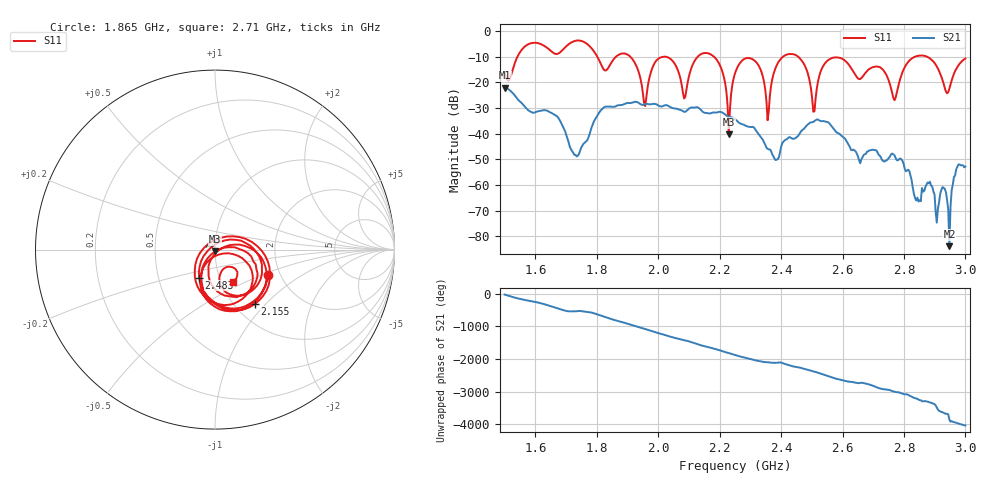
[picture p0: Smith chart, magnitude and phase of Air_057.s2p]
# HZ S RI R 50
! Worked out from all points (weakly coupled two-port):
!   404 points, 1.5 GHz to 3 GHz, reference 50 ohm
!   highest |S21| = -22.10 dB at 1.5 GHz (marker M1); lowest = -83.9 dB at 2.948 GHz (marker M2)
!   lowest |S11| = -40.3 dB at 2.23 GHz (marker M3), VSWR 1.02, Z = 50.1 - j0.962 ohm
!   |S11| at or under -10 dB: 2.182 GHz to 2.406 GHz (224 MHz wide, 9.76 % of centre); 2.456 GHz to 2.835 GHz (379.2 MHz wide, 14.3 % of centre); 2.876 GHz to end of sweep (the widest 3 of 7)
!   S12 and S22 are empty: the file has one direction only
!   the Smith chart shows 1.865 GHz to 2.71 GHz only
!   S11 on the Smith chart (normalised r, x): 1.865 GHz: 1.73, -0.54; 2.155 GHz: 1.24, -0.87; 2.483 GHz: 0.80, -0.26; 2.71 GHz: 1.14, -0.42
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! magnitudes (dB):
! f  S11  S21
! 1.5 GHz  -16.4  -22.1
! 1.578 GHz  -5.0  -31.0
! 1.753 GHz  -3.9  -44.7
! 1.865 GHz  -9.7  -29.1
! 1.958 GHz  -29.2  -28.4
! 2.002 GHz  -10.6  -29.1
! 2.084 GHz  -26.3  -31.5
! 2.155 GHz  -8.5  -31.9
! 2.203 GHz  -14.0  -31.5
! 2.23 GHz  -40.3  -33.4
! 2.252 GHz  -15.8  -34.5
! 2.315 GHz  -11.6  -38.2
! 2.356 GHz  -34.8  -45.9
! 2.386 GHz  -13.3  -50.1
! 2.483 GHz  -14.9  -36.9
! 2.501 GHz  -26.4  -35.5
! 2.561 GHz  -10.7  -36.5
! 2.71 GHz  -13.8  -46.5
! 2.751 GHz  -19.4  -49.5
! 2.862 GHz  -9.5  -62.7
! 2.948 GHz  -22.4  -83.9
! 3 GHz  -10.7  -52.8
